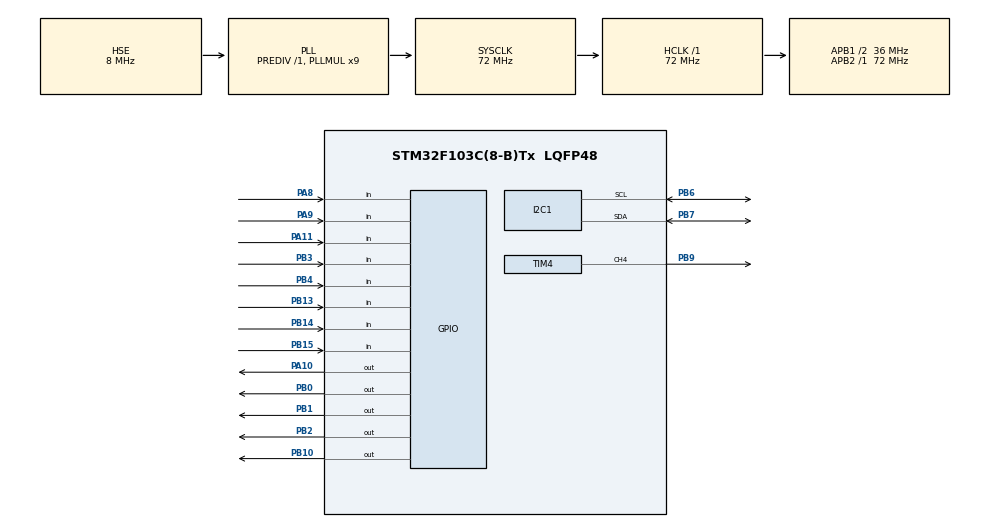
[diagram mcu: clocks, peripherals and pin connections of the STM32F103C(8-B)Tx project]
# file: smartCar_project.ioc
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Mcu.Family=STM32F1
Mcu.Name=STM32F103C(8-B)Tx
Mcu.Package=LQFP48
NVIC.PriorityGroup=NVIC_PRIORITYGROUP_4
PA10.Signal=GPIO_Output
PA11.Signal=GPIO_Input
PA13.Mode=Serial_Wire
PA13.Signal=SYS_JTMS-SWDIO
PA14.Mode=Serial_Wire
PA14.Signal=SYS_JTCK-SWCLK
PA8.Signal=GPIO_Input
PA9.Signal=GPIO_Input
PB0.Signal=GPIO_Output
PB1.Signal=GPIO_Output
PB10.Signal=GPIO_Output
PB13.Signal=GPIO_Input
PB14.Signal=GPIO_Input
PB15.Signal=GPIO_Input
PB2.Signal=GPIO_Output
PB3.Signal=GPIO_Input
PB4.Signal=GPIO_Input
PB6.Mode=I2C
PB6.Signal=I2C1_SCL
PB7.Mode=I2C
PB7.Signal=I2C1_SDA
PB9.Signal=S_TIM4_CH4
PD0-OSC_IN.Mode=HSE-External-Oscillator
PD0-OSC_IN.Signal=RCC_OSC_IN
PD1-OSC_OUT.Mode=HSE-External-Oscillator
PD1-OSC_OUT.Signal=RCC_OSC_OUT
ProjectManager.HeapSize=0x200
ProjectManager.StackSize=0x400
ProjectManager.TargetToolchain=MDK-ARM V5.32
RCC.AHBFreq_Value=72000000
RCC.APB1CLKDivider=RCC_HCLK_DIV2
RCC.APB1Freq_Value=36000000
RCC.APB1TimFreq_Value=72000000
RCC.APB2Freq_Value=72000000
RCC.APB2TimFreq_Value=72000000
RCC.HCLKFreq_Value=72000000
RCC.PLLMUL=RCC_PLL_MUL9
RCC.PLLSourceVirtual=RCC_PLLSOURCE_HSE
RCC.SYSCLKFreq_VALUE=72000000
RCC.SYSCLKSource=RCC_SYSCLKSOURCE_PLLCLK
RCC.USBFreq_Value=72000000
SH.S_TIM4_CH4.0=TIM4_CH4,PWM Generation4 CH4
TIM2.AutoReloadPreload=TIM_AUTORELOAD_PRELOAD_ENABLE
TIM2.Prescaler=71
TIM4.AutoReloadPreload=TIM_AUTORELOAD_PRELOAD_ENABLE
TIM4.Channel-PWM\ Generation4\ CH4=TIM_CHANNEL_4
TIM4.Period=199
TIM4.Prescaler=7199
VP_TIM2_VS_ClockSourceINT.Mode=Internal
VP_TIM4_VS_ClockSourceINT.Mode=Internal
board=custom

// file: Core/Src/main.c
/* USER CODE BEGIN Header */
/**
  ******************************************************************************
  * @file           : main.c
  * @brief          : Main program body
  ******************************************************************************
  * @attention
  *
  * Copyright (c) 2023 STMicroelectronics.
  * All rights reserved.
  *
  * This software is licensed under terms that can be found in the LICENSE file
  * in the root directory of this software component.
  * If no LICENSE file comes with this software, it is provided AS-IS.
  *
  ******************************************************************************
  */
/* USER CODE END Header */
#include "main.h"
#include "i2c.h"
#include "tim.h"
#include "gpio.h"

/* USER CODE BEGIN Includes */
#include "sg90.h"
#include "sr04.h"
#include "motor.h"
#include "oled.h"
/* USER CODE END Includes */

/* USER CODE BEGIN PM */
#define MIDDLE 0
#define LEFT 1
#define RIGHT 2

#define BZ 1
#define XJ 2
#define GS 3

#define LeftWheel_Value_XJ HAL_GPIO_ReadPin(GPIOB, GPIO_PIN_3)
#define RightWheel_Value_XJ HAL_GPIO_ReadPin(GPIOB, GPIO_PIN_4)

#define LeftWheel_Value_GS HAL_GPIO_ReadPin(GPIOA, GPIO_PIN_8)
#define RightWheel_Value_GS HAL_GPIO_ReadPin(GPIOA, GPIO_PIN_9)

#define A25 HAL_GPIO_ReadPin(GPIOA, GPIO_PIN_15)
#define A26 HAL_GPIO_ReadPin(GPIOA, GPIO_PIN_13)
#define A27 HAL_GPIO_ReadPin(GPIOA, GPIO_PIN_14)
/* USER CODE END PM */

void SystemClock_Config(void);

/* USER CODE BEGIN 0 */
char dir;

void xunjiMode() //读取循迹模块引脚电平状�??
{
	if(LeftWheel_Value_XJ == GPIO_PIN_RESET && RightWheel_Value_XJ == GPIO_PIN_RESET)
		goForward();
	if(LeftWheel_Value_XJ == GPIO_PIN_SET && RightWheel_Value_XJ == GPIO_PIN_RESET)
		goLeft();
	if(LeftWheel_Value_XJ == GPIO_PIN_RESET && RightWheel_Value_XJ == GPIO_PIN_SET)
		goRight();
	if(LeftWheel_Value_XJ == GPIO_PIN_SET && RightWheel_Value_XJ == GPIO_PIN_SET)
		stop();
}

void gensuiMode() //读取跟随模式引脚电平状�??
{
	if(LeftWheel_Value_GS == GPIO_PIN_RESET && RightWheel_Value_GS == GPIO_PIN_RESET)
		goForward();
	if(LeftWheel_Value_GS == GPIO_PIN_SET && RightWheel_Value_GS == GPIO_PIN_RESET)
		goRight();
	if(LeftWheel_Value_GS == GPIO_PIN_RESET && RightWheel_Value_GS == GPIO_PIN_SET)
		goLeft();
	if(LeftWheel_Value_GS == GPIO_PIN_SET && RightWheel_Value_GS == GPIO_PIN_SET)
		stop();
}

void bizhangMode()
{
	double disMiddle;
	double disLeft;
	double disRight;

	if(dir != MIDDLE){ //让sg90舵机位置处于正中
		sgMiddle();
		dir = MIDDLE;
		HAL_Delay(300);
	}
	disMiddle = get_distance();

	if(disMiddle > 35){
		goForward();
	}else if(disMiddle < 10){
		goBack();

	}else
	{
		stop();
		sgLeft();
		HAL_Delay(300);
		disLeft = get_distance();
		sgMiddle();
		HAL_Delay(300);
		sgRight();
		dir = RIGHT;
		HAL_Delay(300);
		disRight = get_distance();

		if(disLeft < disRight){
			goRight();
			HAL_Delay(150);
			stop();
		}
		if(disRight < disLeft){
			goLeft();
			HAL_Delay(150);
			stop();
		}
	}
	HAL_Delay(50);
}
/* USER CODE END 0 */

int main(void)
{
  /* USER CODE BEGIN 1 */
	int mark = 0;
  /* USER CODE END 1 */

  /* MCU Configuration--------------------------------------------------------*/

  /* Reset of all peripherals, Initializes the Flash interface and the Systick. */
  HAL_Init();

  /* Configure the system clock */
  SystemClock_Config();

  /* Initialize all configured peripherals */
  MX_GPIO_Init();
  MX_TIM4_Init();
  MX_TIM2_Init();
  MX_I2C1_Init();
  /* USER CODE BEGIN 2 */
	initSG90();
	HAL_Delay(1000);
	dir = MIDDLE;
	Oled_Init();
	Oled_Screen_Clear();
	Oled_Show_Str(2,2,"-----Ready----");
  /* USER CODE END 2 */

  /* Infinite loop */
  while (1)
  {

    /* USER CODE BEGIN 3 */
		//与语音模块进行联动，读取语音模块的引脚状�?
		if(A25 == 1 && A26 == 1 && A27 == 0){
			if(mark != XJ){ //循迹模式
				Oled_Screen_Clear();
				Oled_Show_Str(2,2,"-----XunJi----");
			}
			mark = XJ;
			xunjiMode();
		}

		if(A25 == 0 && A26 == 1 && A27 == 1){
			if(mark != GS){ //跟随模式
				Oled_Screen_Clear();
				Oled_Show_Str(2,2,"-----GenSui----");
			}
			mark = GS;
			gensuiMode();
		}

		if(A25 == 1 && A26 == 0 && A27 == 1){
			if(mark != BZ){ //避障模式
				Oled_Screen_Clear();
				Oled_Show_Str(2,2,"-----BiZhang----");
			}
			mark = BZ;
			bizhangMode();
		}
  }
  /* USER CODE END 3 */
}

void SystemClock_Config(void)
{
  RCC_OscInitTypeDef RCC_OscInitStruct = {0};
  RCC_ClkInitTypeDef RCC_ClkInitStruct = {0};

  /** Initializes the RCC Oscillators according to the specified parameters
  * in the RCC_OscInitTypeDef structure.
  */
  RCC_OscInitStruct.OscillatorType = RCC_OSCILLATORTYPE_HSE;
  RCC_OscInitStruct.HSEState = RCC_HSE_ON;
  RCC_OscInitStruct.HSEPredivValue = RCC_HSE_PREDIV_DIV1;
  RCC_OscInitStruct.HSIState = RCC_HSI_ON;
  RCC_OscInitStruct.PLL.PLLState = RCC_PLL_ON;
  RCC_OscInitStruct.PLL.PLLSource = RCC_PLLSOURCE_HSE;
  RCC_OscInitStruct.PLL.PLLMUL = RCC_PLL_MUL9;
  if (HAL_RCC_OscConfig(&RCC_OscInitStruct) != HAL_OK)
  {
    Error_Handler();
  }

  /** Initializes the CPU, AHB and APB buses clocks
  */
  RCC_ClkInitStruct.ClockType = RCC_CLOCKTYPE_HCLK|RCC_CLOCKTYPE_SYSCLK
                              |RCC_CLOCKTYPE_PCLK1|RCC_CLOCKTYPE_PCLK2;
  RCC_ClkInitStruct.SYSCLKSource = RCC_SYSCLKSOURCE_PLLCLK;
  RCC_ClkInitStruct.AHBCLKDivider = RCC_SYSCLK_DIV1;
  RCC_ClkInitStruct.APB1CLKDivider = RCC_HCLK_DIV2;
  RCC_ClkInitStruct.APB2CLKDivider = RCC_HCLK_DIV1;

  if (HAL_RCC_ClockConfig(&RCC_ClkInitStruct, FLASH_LATENCY_2) != HAL_OK)
  {
    Error_Handler();
  }
}

void Error_Handler(void)
{
  __disable_irq();
  while (1)
  {
  }
}
